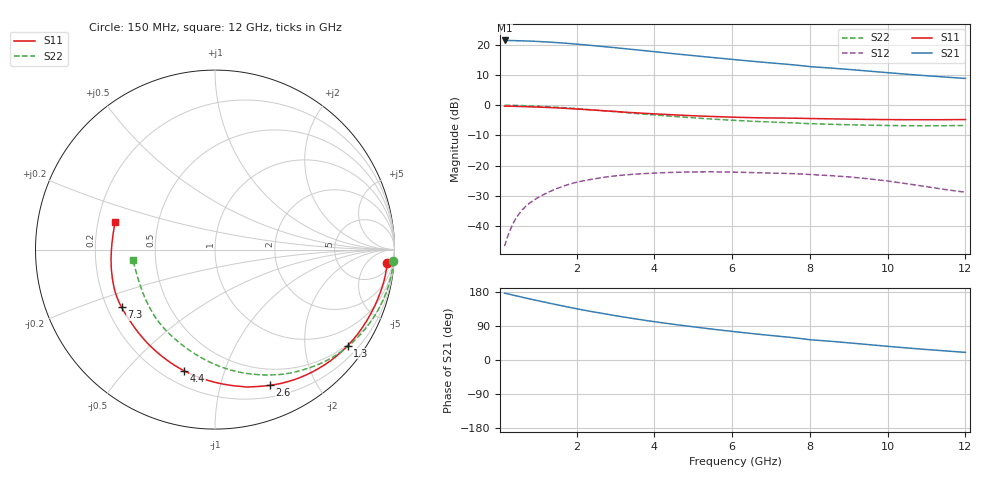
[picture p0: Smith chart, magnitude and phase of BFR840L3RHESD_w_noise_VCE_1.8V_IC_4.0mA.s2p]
! Infineon Technologies  Discrete & RF Semiconductors
! BFR840L3RHESD
! VCE =  1.8 V,  IC =  4.0 mA
! Common Emitter S-Parameters:  Jun 2012
# GHz  S  MA  R  50
!  f  S11  S21  S12  S22
! GHz  MAG  ANG  MAG  ANG  MAG  ANG  MAG  ANG
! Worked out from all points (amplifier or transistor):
!   91 points, 150 MHz to 12 GHz, reference 50 ohm
!   highest |S21| = 21.4 dB at 150 MHz (marker M1)
!   |S21| within 3 dB of that: start of sweep to 3.461 GHz
!   unconditionally stable (mu >= 1): 9.474 GHz to end of sweep
!   at 1.3 GHz: K = 0.08, MSG = 24.7 dB, |S12| = -28.6 dB
!   at 4.3 GHz: K = 0.26, MSG = 19.8 dB, |S12| = -22.3 dB
!   at 12 GHz: K = 2.39, MAG = 12.2 dB, |S12| = -28.8 dB
!   lowest NFmin = 0.46 dB at 450 MHz
!   S11 on the Smith chart (normalised r, x): 150 MHz: 11, -21; 1.3 GHz: 0.47, -3.02; 2.6 GHz: 0.32, -1.43; 4.4 GHz: 0.28, -0.74; 7.3 GHz: 0.26, -0.27; 12 GHz: 0.27, +0.13
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0.15  0.9613 -4.4  11.68 176.3  0.0047 83.3  0.9964 -3.6
0.4  0.9563 -11.5  11.61 170.5  0.0122 78.5  0.9905 -9.6
0.7  0.9429 -19.9  11.46 163.4  0.0216 75.2  0.978 -16.6
1.1  0.9237 -30.7  11.16 154.3  0.0321 67.8  0.9539 -25.6
1.3  0.9127 -35.9  10.97 150.0  0.0371 63.7  0.9392 -30.0
1.7  0.8861 -46.4  10.53 141.4  0.0469 56.5  0.9055 -38.6
2.2  0.8477 -58.9  9.91 131.4  0.0568 48.8  0.8564 -48.8
2.6  0.8157 -68.0  9.371 124.1  0.0628 42.7  0.8169 -56.4
3  0.7862 -77.0  8.881 116.9  0.068 37.3  0.7793 -63.4
3.3  0.7621 -83.2  8.474 112.0  0.0709 33.1  0.7494 -68.7
3.8  0.7296 -93.1  7.86 104.1  0.0745 27.1  0.7055 -76.9
4.2  0.7074 -100.7  7.398 98.3  0.0765 22.8  0.6739 -83.1
4.4  0.6969 -104.3  7.177 95.5  0.0774 20.7  0.659 -86.1
5.2  0.66 -118.0  6.379 85.1  0.0791 13.0  0.6054 -97.6
6.1  0.631 -131.9  5.613 74.4  0.0783 5.3  0.5592 -109.8
6.6  0.6194 -139.1  5.24 68.8  0.0768 1.6  0.5394 -116.3
7.3  0.6116 -148.4  4.792 61.7  0.0749 -2.6  0.5175 -125.0
8  0.6011 -159.4  4.322 53.5  0.0715 -8.3  0.4936 -135.3
8.5  0.5942 -164.3  4.111 49.7  0.0689 -11.3  0.4837 -140.0
9.5  0.5814 -175.0  3.653 40.7  0.0609 -17.3  0.4667 -150.6
10.5  0.5747 175.5  3.235 31.8  0.0504 -20.7  0.4577 -160.6
12  0.5782 164.3  2.76 20.1  0.0365 -14.6  0.4618 -173.1
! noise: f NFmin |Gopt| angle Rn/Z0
0.45  0.46  0.6  7  0.21
0.9  0.5  0.59  12  0.2
1.9  0.54  0.56  27  0.19
3.5  0.56  0.56  47  0.17
4  0.59  0.56  55  0.17
5.5  0.63  0.57  70  0.15
7  0.72  0.54  89  0.13
8  0.79  0.51  102  0.12
10  0.92  0.46  122  0.1
12  1.1  0.38  153  0.08
